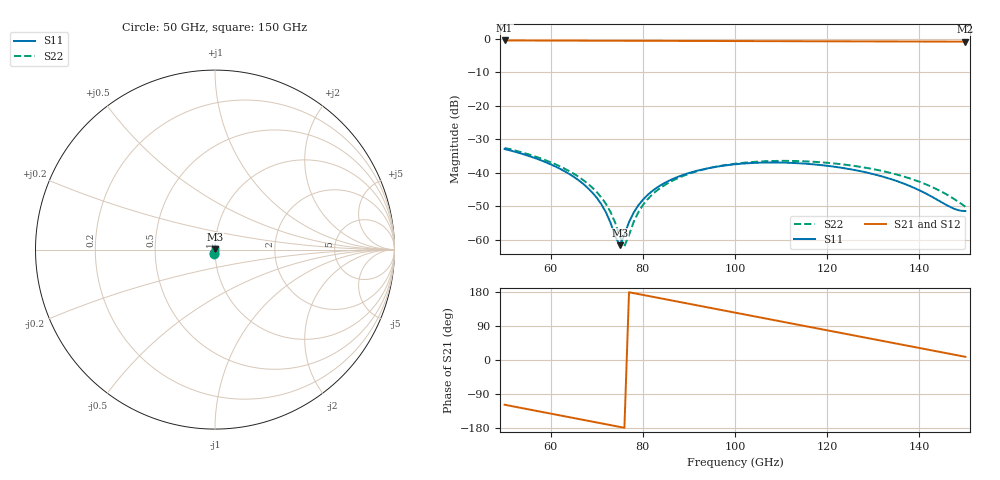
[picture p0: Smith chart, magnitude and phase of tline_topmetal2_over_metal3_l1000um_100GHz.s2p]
#  GHZ S DB R 50
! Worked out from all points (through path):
!   101 points, 50 GHz to 150 GHz, reference 50 ohm
!   highest |S21| = -0.51 dB at 50 GHz (marker M1); lowest = -0.9 dB at 150 GHz (marker M2)
!   group delay of S21, straight-line fit = 6.49 ps
!   lowest |S11| = -61.6 dB at 75 GHz (marker M3), VSWR 1.00, Z = 50 + j0.0834 ohm
!   |S11| at or under -10 dB: start of sweep to end of sweep
!   |S22| runs from -61.9 to -32.5 dB; largest |S21 - S12| = 1.6e-13
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50  -32.89 -108.7  -0.51 -118.1  -0.51 -118.1  -32.55 -109.0
60  -37.46 -136.2  -0.54 -141.5  -0.54 -141.5  -36.84 -136.4
67  -43.22 -157.9  -0.57 -157.8  -0.57 -157.8  -42.08 -157.5
70  -47.43 -170.2  -0.58 -164.9  -0.58 -164.9  -45.74 -168.5
72  -51.79 177.0  -0.59 -169.5  -0.59 -169.5  -49.30 -178.4
74  -58.98 142.8  -0.59 -174.2  -0.59 -174.2  -54.89 163.4
75  -61.56 93.8  -0.60 -176.5  -0.60 -176.5  -59.06 141.0
76  -58.43 49.4  -0.60 -178.9  -0.60 -178.9  -61.87 90.7
77  -54.69 29.5  -0.60 178.8  -0.60 178.8  -58.55 44.9
78  -51.88 19.0  -0.61 176.4  -0.61 176.4  -54.69 25.1
79  -49.73 12.1  -0.61 174.1  -0.61 174.1  -51.82 14.9
81  -46.63 2.2  -0.62 169.4  -0.62 169.4  -47.92 2.8
84  -43.58 -8.9  -0.63 162.4  -0.63 162.4  -44.31 -9.2
91  -39.65 -30.4  -0.65 146.1  -0.65 146.1  -39.83 -31.0
100  -37.45 -56.0  -0.69 125.0  -0.69 125.0  -37.27 -56.5
109  -36.91 -81.1  -0.72 104.0  -0.72 104.0  -36.44 -81.3
117  -37.46 -103.6  -0.75 85.4  -0.75 85.4  -36.69 -103.3
125  -38.92 -127.0  -0.78 66.7  -0.78 66.7  -37.76 -125.6
134  -41.94 -156.6  -0.81 45.7  -0.81 45.7  -40.11 -152.3
143  -47.33 160.3  -0.84 24.7  -0.84 24.7  -44.37 175.3
147  -50.37 125.6  -0.85 15.4  -0.85 15.4  -47.32 155.2
150  -51.40 88.3  -0.86 8.4  -0.86 8.4  -50.10 133.2
